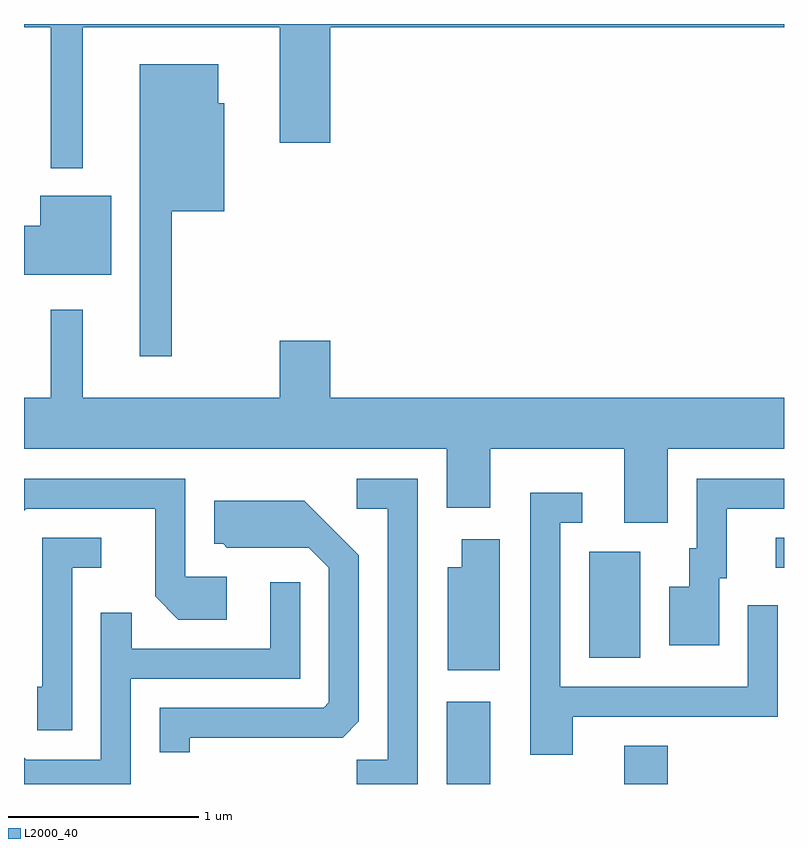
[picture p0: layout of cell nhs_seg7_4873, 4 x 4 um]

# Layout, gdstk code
import gdstk
lib = gdstk.Library(unit=1e-6, precision=1e-09)
def R(c, l, rs):  # rectangles x0, y0, x1, y1
    for r in rs: c.add(gdstk.rectangle(r[:2], r[2:], *l))
def P(c, l, *ps):  # polygons
    for p in ps: c.add(gdstk.Polygon(p, *l))
L2000_40 = (2000, 40)

nhs_seg7_4873 = lib.new_cell('nhs_seg7_4873')
R(nhs_seg7_4873, L2000_40, [(335.836,1790.252,336.064,1790.684), (336.771,1790.252,336.999,1790.454), (336.586,1790.916,336.854,1791.474), (337.568,1791.391,337.611,1791.549)])
P(nhs_seg7_4873, L2000_40, [(333.919,1794.236),(334.956,1794.236),(334.956,1793.626),(335.224,1793.626),(335.224,1794.236),(337.611,1794.236),(337.611,1794.252),(333.611,1794.252),(333.611,1794.236),(333.751,1794.236),(333.751,1793.493),(333.919,1793.493)],
  [(334.389,1793.266),(334.664,1793.266),(334.664,1793.834),(334.634,1793.834),(334.634,1794.039),(334.221,1794.039),(334.221,1792.503),(334.389,1792.503)],
  [(334.069,1793.349),(333.696,1793.349),(333.696,1793.189),(333.611,1793.189),(333.611,1792.931),(334.069,1792.931)],
  [(336.999,1792.016),(337.611,1792.016),(337.611,1792.284),(335.224,1792.284),(335.224,1792.584),(334.956,1792.584),(334.956,1792.284),(333.919,1792.284),(333.919,1792.748),(333.751,1792.748),(333.751,1792.284),(333.611,1792.284),(333.611,1792.016),(335.836,1792.016),(335.836,1791.706),(336.064,1791.706),(336.064,1792.016),(336.771,1792.016),(336.771,1791.626),(336.999,1791.626)],
  [(337.269,1791.336),(337.309,1791.336),(337.309,1791.701),(337.611,1791.701),(337.611,1791.859),(337.151,1791.859),(337.151,1791.494),(337.111,1791.494),(337.111,1791.289),(337.006,1791.289),(337.006,1790.981),(337.269,1790.981)],
  [(334.679,1791.344),(334.459,1791.344),(334.459,1791.859),(333.611,1791.859),(333.611,1791.69),(333.622,1791.701),(334.301,1791.701),(334.301,1791.239),(334.424,1791.116),(334.679,1791.116)],
  [(335.684,1791.859),(335.363,1791.859),(335.363,1791.701),(335.526,1791.701),(335.526,1790.379),(335.363,1790.379),(335.363,1790.252),(335.684,1790.252)],
  [(336.499,1790.606),(337.579,1790.606),(337.579,1791.193),(337.421,1791.193),(337.421,1790.764),(336.434,1790.764),(336.434,1791.626),(336.548,1791.626),(336.548,1791.784),(336.276,1791.784),(336.276,1790.406),(336.499,1790.406)],
  [(334.484,1790.496),(335.289,1790.496),(335.374,1790.582),(335.374,1791.457),(335.087,1791.744),(334.611,1791.744),(334.611,1791.516),(334.659,1791.516),(334.679,1791.496),(335.109,1791.496),(335.216,1791.389),(335.216,1790.682),(335.189,1790.654),(334.326,1790.654),(334.326,1790.418),(334.484,1790.418)],
  [(333.864,1791.391),(334.018,1791.391),(334.018,1791.549),(333.706,1791.549),(333.706,1790.764),(333.681,1790.764),(333.681,1790.536),(333.864,1790.536)],
  [(336.114,1791.539),(335.916,1791.539),(335.916,1791.394),(335.841,1791.394),(335.841,1790.851),(336.114,1790.851)],
  [(334.174,1790.806),(335.064,1790.806),(335.064,1791.313),(334.906,1791.313),(334.906,1790.964),(334.179,1790.964),(334.179,1791.153),(334.016,1791.153),(334.016,1790.379),(333.622,1790.379),(333.611,1790.39),(333.611,1790.252),(334.174,1790.252)])

lib.write_gds('nhs_seg7_4873.gds')
